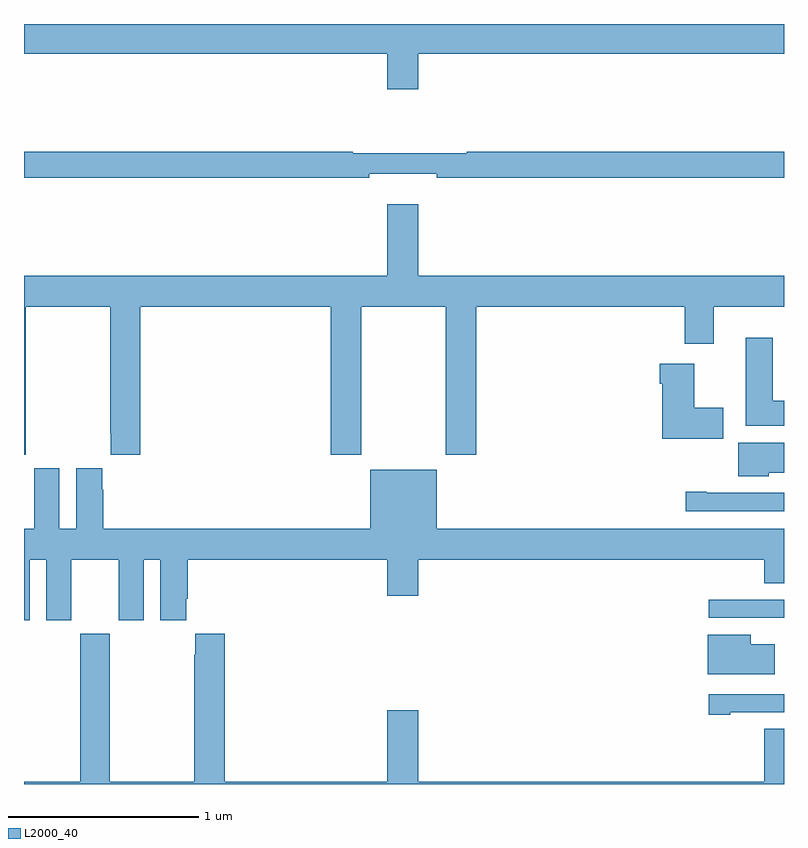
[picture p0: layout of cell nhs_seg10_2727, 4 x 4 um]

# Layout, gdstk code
import gdstk
lib = gdstk.Library(unit=1e-6, precision=1e-09)
def R(c, l, rs):  # rectangles x0, y0, x1, y1
    for r in rs: c.add(gdstk.rectangle(r[:2], r[2:], *l))
def P(c, l, *ps):  # polygons
    for p in ps: c.add(gdstk.Polygon(p, *l))
L2000_40 = (2000, 40)

nhs_seg10_2727 = lib.new_cell('nhs_seg10_2727')
R(nhs_seg10_2727, L2000_40, [(262.605,1269.375,263,1269.471)])
P(nhs_seg10_2727, L2000_40, [(261.076,1272.344),(263,1272.344),(263,1272.5),(259,1272.5),(259,1272.344),(260.912,1272.344),(260.912,1272.156),(261.076,1272.156)],
  [(260.816,1271.711),(261.172,1271.711),(261.172,1271.692),(263,1271.692),(263,1271.828),(261.329,1271.828),(261.329,1271.821),(260.729,1271.821),(260.729,1271.828),(259,1271.828),(259,1271.692),(260.816,1271.692)],
  [(259.008,1271.012),(259.453,1271.012),(259.453,1270.345),(259.457,1270.345),(259.457,1270.233),(259.613,1270.233),(259.613,1271.012),(260.615,1271.012),(260.615,1270.233),(260.775,1270.233),(260.775,1271.012),(261.22,1271.012),(261.22,1270.233),(261.38,1270.233),(261.38,1271.012),(262.478,1271.012),(262.478,1270.818),(262.63,1270.818),(262.63,1271.012),(263,1271.012),(263,1271.176),(261.076,1271.176),(261.076,1271.551),(260.912,1271.551),(260.912,1271.176),(259,1271.176),(259,1270.233),(259.008,1270.233)],
  [(263,1270.516),(262.942,1270.516),(262.942,1270.849),(262.799,1270.849),(262.799,1270.385),(263,1270.385)],
  [(262.681,1270.479),(262.528,1270.479),(262.528,1270.711),(262.346,1270.711),(262.346,1270.607),(262.358,1270.607),(262.358,1270.316),(262.681,1270.316)],
  [(262.92,1270.139),(263,1270.139),(263,1270.297),(262.76,1270.297),(262.76,1270.121),(262.92,1270.121)],
  [(259.03,1269.68),(259.118,1269.68),(259.118,1269.363),(259.249,1269.363),(259.249,1269.68),(259.499,1269.68),(259.499,1269.363),(259.63,1269.363),(259.63,1269.68),(259.718,1269.68),(259.718,1269.363),(259.855,1269.363),(259.855,1269.475),(259.862,1269.475),(259.862,1269.68),(260.912,1269.68),(260.912,1269.492),(261.076,1269.492),(261.076,1269.68),(262.895,1269.68),(262.895,1269.556),(263,1269.556),(263,1269.844),(261.172,1269.844),(261.172,1270.153),(260.822,1270.153),(260.822,1269.844),(259.418,1269.844),(259.418,1270.049),(259.411,1270.049),(259.411,1270.162),(259.274,1270.162),(259.274,1269.844),(259.186,1269.844),(259.186,1270.162),(259.055,1270.162),(259.055,1269.844),(259,1269.844),(259,1269.363),(259.03,1269.363)],
  [(263,1270.032),(262.594,1270.032),(262.594,1270.037),(262.482,1270.037),(262.482,1269.936),(263,1269.936)],
  [(263,1268.792),(262.895,1268.792),(262.895,1268.512),(261.076,1268.512),(261.076,1268.887),(260.912,1268.887),(260.912,1268.512),(260.057,1268.512),(260.057,1269.292),(259.901,1269.292),(259.901,1269.179),(259.897,1269.179),(259.897,1268.512),(259.452,1268.512),(259.452,1269.292),(259.297,1269.292),(259.297,1268.512),(259,1268.512),(259,1268.5),(263,1268.5)],
  [(262.951,1269.235),(262.825,1269.235),(262.825,1269.286),(262.598,1269.286),(262.598,1269.077),(262.951,1269.077)],
  [(262.717,1268.877),(263,1268.877),(263,1268.973),(262.605,1268.973),(262.605,1268.865),(262.717,1268.865)])

lib.write_gds('nhs_seg10_2727.gds')
